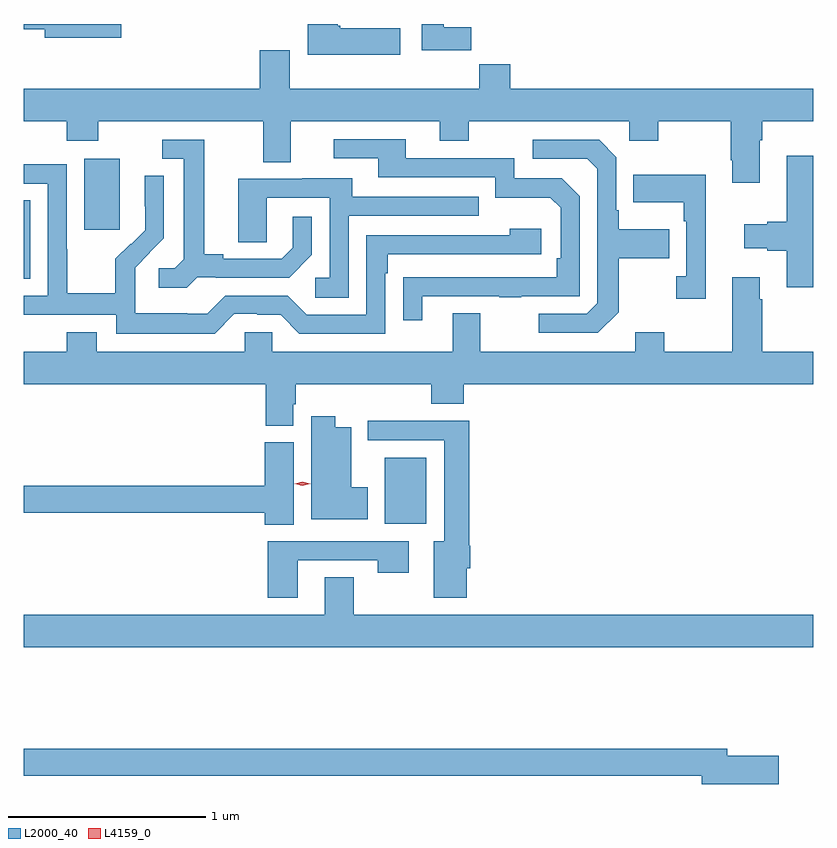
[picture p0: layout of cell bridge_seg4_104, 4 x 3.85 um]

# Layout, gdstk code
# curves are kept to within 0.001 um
import gdstk
lib = gdstk.Library(unit=1e-6, precision=1e-09)
def R(c, l, rs):  # rectangles x0, y0, x1, y1
    for r in rs: c.add(gdstk.rectangle(r[:2], r[2:], *l))
def P(c, l, *ps):  # polygons
    for p in ps: c.add(gdstk.Polygon(p, *l))
L2000_40 = (2000, 40)
L4159_0 = (4159, 0)

bridge_seg4_104 = lib.new_cell('bridge_seg4_104')
R(bridge_seg4_104, L2000_40, [(627.938,772.136,628.15,772.471), (626.11,773.377,626.143,773.774), (626.417,773.625,626.596,773.986)])
P(bridge_seg4_104, L2000_40, [(628.376,774.652),(628.237,774.652),(628.237,774.668),(628.127,774.668),(628.127,774.534),(628.376,774.534)],
  [(626.605,774.668),(626.11,774.668),(626.11,774.642),(626.216,774.642),(626.216,774.599),(626.605,774.599)],
  [(628.018,774.646),(627.714,774.646),(627.714,774.66),(627.7,774.66),(627.7,774.668),(627.578,774.668),(627.578,774.666),(627.548,774.666),(627.548,774.512),(628.018,774.512)],
  [(629.839,774.08),(629.852,774.08),(629.852,774.176),(630.11,774.176),(630.11,774.34),(628.574,774.34),(628.574,774.464),(628.417,774.464),(628.417,774.34),(627.457,774.34),(627.457,774.535),(627.305,774.535),(627.305,774.34),(626.11,774.34),(626.11,774.176),(626.327,774.176),(626.327,774.077),(626.487,774.077),(626.487,774.176),(627.323,774.176),(627.323,773.968),(627.463,773.968),(627.463,774.176),(628.217,774.176),(628.217,774.077),(628.365,774.077),(628.365,774.176),(629.178,774.176),(629.178,774.077),(629.325,774.077),(629.325,774.176),(629.692,774.176),(629.692,773.977),(629.699,773.977),(629.699,773.865),(629.839,773.865)],
  [(628.129,773.289),(628.519,773.289),(628.519,773.284),(628.631,773.284),(628.631,773.289),(628.926,773.289),(628.926,773.796),(628.836,773.886),(628.596,773.886),(628.596,773.988),(628.045,773.988),(628.045,774.084),(627.681,774.084),(627.681,773.988),(627.905,773.988),(627.905,773.892),(628.5,773.892),(628.5,773.789),(628.777,773.789),(628.83,773.736),(628.83,773.482),(628.81,773.482),(628.81,773.385),(628.033,773.384),(628.033,773.166),(628.129,773.166)],
  [(629.125,773.209),(629.125,773.482),(629.381,773.482),(629.381,773.629),(629.125,773.629),(629.125,773.725),(629.112,773.725),(629.112,773.994),(629.025,774.081),(628.689,774.081),(628.689,773.985),(628.965,773.985),(629.016,773.934),(629.016,773.253),(628.962,773.199),(628.719,773.199),(628.719,773.103),(629.019,773.103)],
  [(626.988,773.385),(627.082,773.385),(627.082,773.382),(627.454,773.382),(627.57,773.498),(627.57,773.692),(627.473,773.692),(627.473,773.535),(627.416,773.478),(627.121,773.478),(627.121,773.501),(627.025,773.501),(627.025,774.081),(626.811,774.081),(626.811,773.985),(626.921,773.985),(626.921,773.477),(626.874,773.43),(626.793,773.43),(626.793,773.333),(626.936,773.333)],
  [(630.11,774.001),(629.975,774.001),(629.975,773.666),(629.876,773.666),(629.876,773.653),(629.76,773.653),(629.76,773.531),(629.876,773.531),(629.876,773.519),(629.975,773.519),(629.975,773.334),(630.11,773.334)],
  [(627.177,773.199),(627.293,773.199),(627.293,773.196),(627.411,773.196),(627.507,773.1),(627.942,773.1),(627.942,773.405),(627.955,773.405),(627.955,773.502),(628.732,773.502),(628.732,773.632),(628.571,773.632),(628.571,773.598),(627.846,773.598),(627.846,773.196),(627.543,773.196),(627.447,773.292),(627.132,773.292),(627.039,773.199),(626.939,773.199),(626.939,773.203),(626.676,773.203),(626.676,773.337),(626.674,773.337),(626.674,773.434),(626.82,773.582),(626.82,773.9),(626.724,773.9),(626.724,773.746),(626.726,773.746),(626.726,773.624),(626.655,773.553),(626.652,773.556),(626.575,773.479),(626.575,773.305),(626.331,773.305),(626.331,773.528),(626.328,773.528),(626.328,773.958),(626.11,773.958),(626.11,773.859),(626.232,773.859),(626.232,773.292),(626.11,773.292),(626.11,773.196),(626.58,773.196),(626.58,773.099),(627.077,773.099)],
  [(629.564,773.905),(629.197,773.905),(629.197,773.765),(629.454,773.765),(629.454,773.669),(629.466,773.669),(629.466,773.39),(629.415,773.39),(629.415,773.277),(629.564,773.277)],
  [(627.756,773.697),(628.415,773.697),(628.415,773.793),(627.775,773.793),(627.775,773.887),(627.521,773.887),(627.521,773.883),(627.197,773.883),(627.197,773.563),(627.342,773.563),(627.342,773.787),(627.66,773.787),(627.66,773.382),(627.588,773.382),(627.588,773.281),(627.756,773.281)],
  [(627.335,772.633),(627.475,772.633),(627.475,772.743),(627.488,772.743),(627.488,772.844),(628.175,772.844),(628.175,772.745),(628.34,772.745),(628.34,772.844),(630.11,772.844),(630.11,773.008),(629.852,773.008),(629.852,773.273),(629.839,773.273),(629.839,773.386),(629.699,773.386),(629.699,773.008),(629.355,773.008),(629.355,773.107),(629.207,773.107),(629.207,773.008),(628.423,773.008),(628.423,773.203),(628.283,773.203),(628.283,773.008),(627.369,773.008),(627.369,773.106),(627.231,773.106),(627.231,773.008),(626.479,773.008),(626.479,773.107),(626.327,773.107),(626.327,773.008),(626.11,773.008),(626.11,772.844),(627.335,772.844)],
  [(627.853,772.321),(627.769,772.321),(627.769,772.624),(627.688,772.624),(627.688,772.681),(627.566,772.681),(627.566,772.16),(627.853,772.16)],
  [(628.354,771.912),(628.372,771.912),(628.372,772.026),(628.367,772.026),(628.367,772.658),(627.854,772.658),(627.854,772.56),(628.241,772.56),(628.241,772.048),(628.187,772.048),(628.187,771.762),(628.354,771.762)],
  [(627.478,772.548),(627.332,772.548),(627.332,772.328),(626.11,772.328),(626.11,772.192),(627.332,772.192),(627.332,772.132),(627.478,772.132)],
  [(627.499,771.951),(627.904,771.951),(627.904,771.888),(628.06,771.888),(628.06,772.047),(627.347,772.047),(627.347,771.762),(627.499,771.762)],
  [(630.11,771.676),(627.783,771.676),(627.783,771.866),(627.635,771.866),(627.635,771.676),(626.11,771.676),(626.11,771.512),(630.11,771.512)],
  [(629.935,770.96),(629.674,770.96),(629.674,770.996),(626.11,770.996),(626.11,770.86),(629.546,770.86),(629.546,770.818),(629.935,770.818)])
P(bridge_seg4_104, L4159_0, [(627.522,772.328),(627.484,772.338),(627.484,772.338),(627.484,772.338),(627.522,772.348),(627.561,772.338),(627.561,772.338),(627.561,772.338)])

lib.write_gds('bridge_seg4_104.gds')
